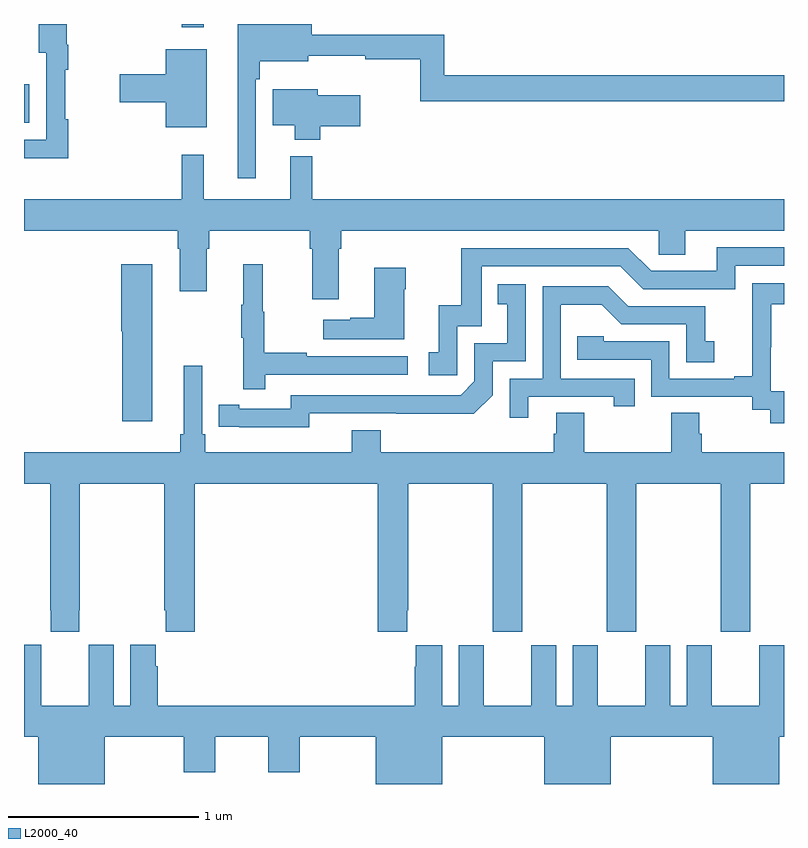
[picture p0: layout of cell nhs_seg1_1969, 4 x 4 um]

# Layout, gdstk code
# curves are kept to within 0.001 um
import gdstk
lib = gdstk.Library(unit=1e-6, precision=1e-09)
def R(c, l, rs):  # rectangles x0, y0, x1, y1
    for r in rs: c.add(gdstk.rectangle(r[:2], r[2:], *l))
def P(c, l, *ps):  # polygons
    for p in ps: c.add(gdstk.Polygon(p, *l))
L2000_40 = (2000, 40)

nhs_seg1_1969 = lib.new_cell('nhs_seg1_1969')
R(nhs_seg1_1969, L2000_40, [(219,505.679,219.028,505.882), (219.829,506.181,219.946,506.199)])
P(nhs_seg1_1969, L2000_40, [(220.221,505.907),(220.241,505.907),(220.241,506.003),(220.495,506.003),(220.495,506.033),(220.796,506.033),(220.796,506.014),(221.085,506.014),(221.085,505.792),(223,505.792),(223,505.928),(221.213,505.928),(221.213,506.143),(220.514,506.143),(220.514,506.199),(220.124,506.199),(220.124,505.386),(220.221,505.386)],
  [(219.233,505.697),(219.218,505.697),(219.218,505.958),(219.233,505.958),(219.233,506.09),(219.226,506.09),(219.226,506.199),(219.077,506.199),(219.077,506.047),(219.117,506.047),(219.117,505.59),(219,505.59),(219,505.493),(219.233,505.493)],
  [(219.961,506.065),(219.746,506.065),(219.746,505.934),(219.504,505.934),(219.504,505.787),(219.746,505.787),(219.746,505.655),(219.961,505.655)],
  [(220.559,505.66),(220.771,505.66),(220.771,505.825),(220.546,505.825),(220.546,505.855),(220.31,505.855),(220.31,505.667),(220.424,505.667),(220.424,505.589),(220.559,505.589)],
  [(220.517,505.504),(220.4,505.504),(220.4,505.276),(219.947,505.276),(219.947,505.51),(219.829,505.51),(219.829,505.276),(219,505.276),(219,505.112),(219.809,505.112),(219.809,505.016),(219.821,505.016),(219.821,504.792),(219.961,504.792),(219.961,505.016),(219.974,505.016),(219.974,505.112),(220.505,505.112),(220.505,505.016),(220.517,505.016),(220.517,504.75),(220.657,504.75),(220.657,505.016),(220.67,505.016),(220.67,505.112),(222.342,505.112),(222.342,504.985),(222.481,504.985),(222.481,505.112),(223,505.112),(223,505.276),(220.517,505.276)],
  [(221.28,504.609),(221.409,504.609),(221.409,504.924),(222.138,504.924),(222.258,504.804),(222.744,504.804),(222.744,504.927),(223,504.927),(223,505.023),(222.647,505.023),(222.647,504.9),(222.3,504.9),(222.18,505.02),(221.301,505.02),(221.301,504.718),(221.183,504.718),(221.183,504.471),(221.13,504.471),(221.13,504.351),(221.28,504.351)],
  [(220.271,504.354),(221.02,504.354),(221.02,504.45),(220.487,504.45),(220.487,504.47),(220.264,504.47),(220.264,504.684),(220.256,504.684),(220.256,504.934),(220.154,504.934),(220.154,504.721),(220.143,504.721),(220.143,504.547),(220.154,504.547),(220.154,504.276),(220.271,504.276)],
  [(219.676,504.934),(219.512,504.934),(219.512,504.582),(219.518,504.582),(219.518,504.108),(219.676,504.108)],
  [(221.002,504.803),(221.01,504.803),(221.01,504.916),(220.844,504.916),(220.844,504.653),(220.718,504.653),(220.718,504.643),(220.575,504.643),(220.575,504.539),(221.002,504.539)],
  [(223,504.267),(222.93,504.267),(222.93,504.497),(222.932,504.497),(222.932,504.725),(223,504.725),(223,504.835),(222.832,504.835),(222.832,504.629),(222.833,504.629),(222.833,504.346),(222.737,504.346),(222.737,504.333),(222.396,504.333),(222.396,504.528),(222.051,504.528),(222.051,504.555),(221.911,504.555),(221.911,504.432),(222.3,504.432),(222.3,504.237),(222.834,504.237),(222.834,504.169),(222.927,504.169),(222.927,504.099),(223,504.099)],
  [(220.5,504.15),(221.368,504.149),(221.466,504.246),(221.466,504.423),(221.64,504.423),(221.64,504.829),(221.494,504.829),(221.494,504.723),(221.543,504.723),(221.543,504.519),(221.37,504.519),(221.37,504.318),(221.298,504.246),(220.404,504.246),(220.404,504.174),(220.132,504.174),(220.132,504.194),(220.024,504.194),(220.024,504.078),(220.5,504.077)],
  [(221.653,504.237),(222.104,504.237),(222.104,504.186),(222.215,504.186),(222.215,504.333),(221.826,504.333),(221.826,504.722),(222.04,504.722),(222.144,504.618),(222.486,504.618),(222.486,504.42),(222.634,504.42),(222.634,504.529),(222.585,504.529),(222.585,504.714),(222.181,504.714),(222.076,504.819),(221.73,504.819),(221.73,504.333),(221.556,504.333),(221.556,504.126),(221.653,504.126)],
  [(219.291,503.113),(219.294,503.113),(219.294,503.78),(219.739,503.78),(219.739,503.113),(219.745,503.113),(219.745,503.001),(219.899,503.001),(219.899,503.78),(220.862,503.78),(220.862,503.001),(221.017,503.001),(221.017,503.113),(221.022,503.113),(221.022,503.78),(221.467,503.78),(221.467,503.001),(221.622,503.001),(221.622,503.78),(222.067,503.78),(222.067,503.001),(222.222,503.001),(222.222,503.78),(222.667,503.78),(222.667,503.001),(222.822,503.001),(222.822,503.78),(223,503.78),(223,503.944),(222.566,503.944),(222.566,504.042),(222.553,504.042),(222.553,504.152),(222.406,504.152),(222.406,503.944),(221.949,503.944),(221.949,504.152),(221.801,504.152),(221.801,504.042),(221.789,504.042),(221.789,503.944),(220.877,503.944),(220.877,504.061),(220.724,504.061),(220.724,503.944),(219.953,503.944),(219.953,504.04),(219.939,504.04),(219.939,504.4),(219.842,504.4),(219.842,504.04),(219.823,504.04),(219.823,503.944),(219,503.944),(219,503.78),(219.139,503.78),(219.139,503.113),(219.141,503.113),(219.141,503.001),(219.291,503.001)],
  [(222.626,502.199),(222.976,502.199),(222.976,502.448),(223,502.448),(223,502.93),(222.869,502.93),(222.869,502.612),(222.619,502.612),(222.619,502.93),(222.488,502.93),(222.488,502.612),(222.4,502.612),(222.4,502.93),(222.269,502.93),(222.269,502.612),(222.019,502.612),(222.019,502.93),(221.888,502.93),(221.888,502.612),(221.8,502.612),(221.8,502.93),(221.669,502.93),(221.669,502.612),(221.419,502.612),(221.419,502.93),(221.288,502.93),(221.288,502.612),(221.2,502.612),(221.2,502.93),(221.063,502.93),(221.063,502.817),(221.057,502.817),(221.057,502.612),(219.704,502.612),(219.704,502.82),(219.694,502.82),(219.694,502.933),(219.56,502.933),(219.56,502.612),(219.472,502.612),(219.472,502.933),(219.342,502.933),(219.342,502.82),(219.341,502.82),(219.341,502.612),(219.091,502.612),(219.091,502.82),(219.09,502.82),(219.09,502.933),(219,502.933),(219,502.448),(219.074,502.448),(219.074,502.199),(219.424,502.199),(219.424,502.448),(219.842,502.448),(219.842,502.26),(220.006,502.26),(220.006,502.448),(220.286,502.448),(220.286,502.26),(220.45,502.26),(220.45,502.448),(220.85,502.448),(220.85,502.199),(221.2,502.199),(221.2,502.448),(221.738,502.448),(221.738,502.199),(222.088,502.199),(222.088,502.448),(222.626,502.448)])

lib.write_gds('nhs_seg1_1969.gds')
